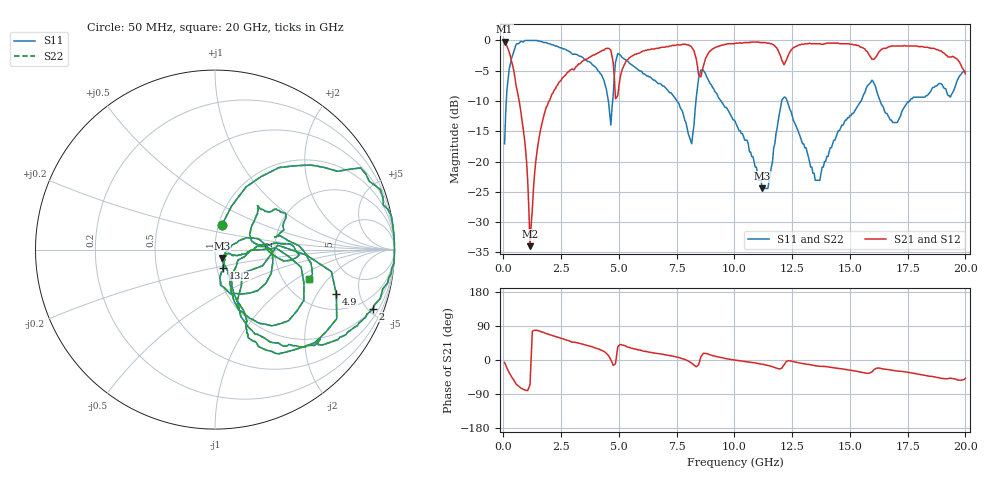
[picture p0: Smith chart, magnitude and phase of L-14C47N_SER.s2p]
# MHZ S MA R 50
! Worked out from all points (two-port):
!   400 points, 50 MHz to 20 GHz, reference 50 ohm
!   highest |S21| = -0.18 dB at 50 MHz (marker M1); lowest = -34.0 dB at 1.15 GHz (marker M2)
!   |S21| within 3 dB of the highest: 8.734 GHz to 12.05 GHz (3.312 GHz wide, 31.9 % of centre); 12.25 GHz to 19.67 GHz (7.411 GHz wide, 46.4 % of centre) (the widest 2 of 5)
!   lowest |S11| = -24.4 dB at 11.2 GHz (marker M3), VSWR 1.13, Z = 53.8 - j4.96 ohm
!   |S11| at or under -10 dB: 9.419 GHz to 12.05 GHz (2.627 GHz wide, 24.5 % of centre); 12.28 GHz to 15.48 GHz (3.197 GHz wide, 23 % of centre); 16.31 GHz to 17.58 GHz (1.272 GHz wide, 7.51 % of centre) (the widest 3 of 6)
!   |S22| runs from -24.4 to 0.0 dB; largest |S21 - S12| = 0
!   S11 on the Smith chart (normalised r, x): 50 MHz: 1.04, +0.29; 2 GHz: 0.95, -5.37; 4.9 GHz: 2.90, -2.98; 13.2 GHz: 1.07, -0.22; 20 GHz: 2.77, -1.29
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50  0.14 74.7  0.98 -6.5  0.98 -6.5  0.14 74.7
250  0.58 52.0  0.8 -33.8  0.8 -33.8  0.58 52.0
900  0.99 13.0  0.16 -78.6  0.16 -78.6  0.99 13.0
1150  1 4.3  0.02 -64.9  0.02 -64.9  1 4.3
1450  1 -4.4  0.12 78.4  0.12 78.4  1 -4.4
2000  0.94 -20.5  0.32 67.0  0.32 67.0  0.94 -20.5
3400  0.73 -48.0  0.67 42.1  0.67 42.1  0.73 -48.0
4650  0.2 -41.5  0.83 0.7  0.83 0.7  0.2 -41.5
4900  0.72 -20.1  0.34 12.4  0.34 12.4  0.72 -20.1
5350  0.68 -58.6  0.69 34.8  0.69 34.8  0.68 -58.6
6700  0.44 -67.0  0.86 16.8  0.86 16.8  0.44 -67.0
8150  0.14 -25.2  0.88 -8.4  0.88 -8.4  0.14 -25.2
8550  0.57 -29.8  0.5 8.4  0.5 8.4  0.57 -29.8
10050  0.21 -67.0  0.95 -0.4  0.95 -0.4  0.21 -67.0
11200  0.06 -50.0  0.96 -11.0  0.96 -11.0  0.06 -50.0
12150  0.34 -22.9  0.63 -12.4  0.63 -12.4  0.34 -22.9
13200  0.11 -65.7  0.94 -11.7  0.94 -11.7  0.11 -65.7
13350  0.09 -55.1  0.94 -13.4  0.94 -13.4  0.09 -55.1
15950  0.47 -3.6  0.7 -31.5  0.7 -31.5  0.47 -3.6
16700  0.23 8.2  0.89 -25.8  0.89 -25.8  0.23 8.2
18600  0.41 33.3  0.86 -43.9  0.86 -43.9  0.41 33.3
20000  0.55 -17.2  0.53 -48.0  0.53 -48.0  0.55 -17.2
